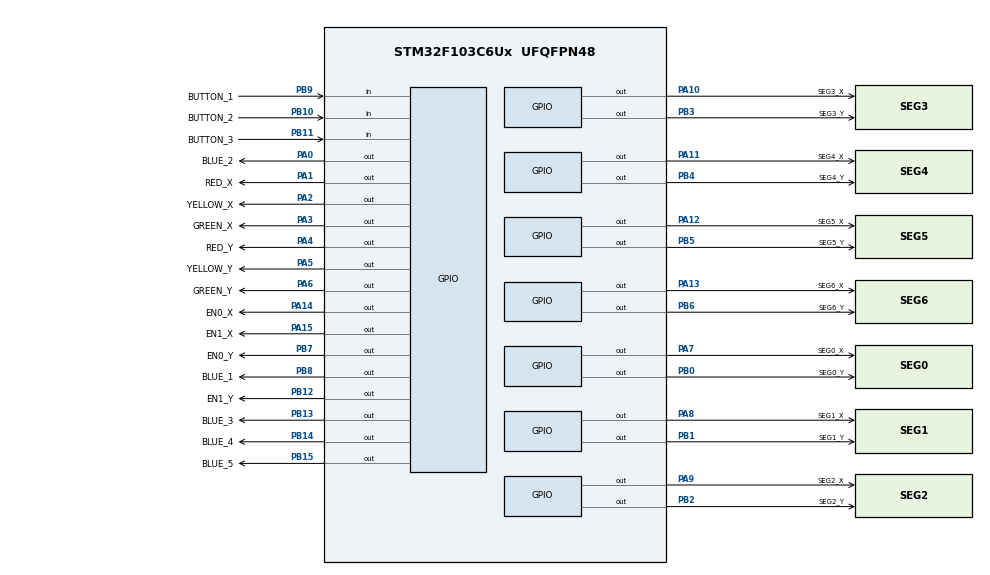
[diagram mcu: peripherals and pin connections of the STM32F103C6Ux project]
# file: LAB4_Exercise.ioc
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Mcu.Family=STM32F1
Mcu.Name=STM32F103C6Ux
Mcu.Package=UFQFPN48
NVIC.PriorityGroup=NVIC_PRIORITYGROUP_4
NVIC.TIM2_IRQn=true\:0\:0\:false\:false\:true\:true\:true
PA0-WKUP.GPIO_Label=BLUE_2
PA0-WKUP.Signal=GPIO_Output
PA1.GPIO_Label=RED_X
PA1.Signal=GPIO_Output
PA10.GPIO_Label=SEG3_X
PA10.Signal=GPIO_Output
PA11.GPIO_Label=SEG4_X
PA11.Signal=GPIO_Output
PA12.GPIO_Label=SEG5_X
PA12.Signal=GPIO_Output
PA13.GPIO_Label=SEG6_X
PA13.Signal=GPIO_Output
PA14.GPIO_Label=EN0_X
PA14.Signal=GPIO_Output
PA15.GPIO_Label=EN1_X
PA15.Signal=GPIO_Output
PA2.GPIO_Label=YELLOW_X
PA2.Signal=GPIO_Output
PA3.GPIO_Label=GREEN_X
PA3.Signal=GPIO_Output
PA4.GPIO_Label=RED_Y
PA4.Signal=GPIO_Output
PA5.GPIO_Label=YELLOW_Y
PA5.Signal=GPIO_Output
PA6.GPIO_Label=GREEN_Y
PA6.Signal=GPIO_Output
PA7.GPIO_Label=SEG0_X
PA7.Signal=GPIO_Output
PA8.GPIO_Label=SEG1_X
PA8.Signal=GPIO_Output
PA9.GPIO_Label=SEG2_X
PA9.Signal=GPIO_Output
PB0.GPIO_Label=SEG0_Y
PB0.Signal=GPIO_Output
PB1.GPIO_Label=SEG1_Y
PB1.Signal=GPIO_Output
PB10.GPIO_Label=BUTTON_2
PB10.GPIO_PuPd=GPIO_PULLUP
PB10.Signal=GPIO_Input
PB11.GPIO_Label=BUTTON_3
PB11.GPIO_PuPd=GPIO_PULLUP
PB11.Signal=GPIO_Input
PB12.GPIO_Label=EN1_Y
PB12.Signal=GPIO_Output
PB13.GPIO_Label=BLUE_3
PB13.Signal=GPIO_Output
PB14.GPIO_Label=BLUE_4
PB14.Signal=GPIO_Output
PB15.GPIO_Label=BLUE_5
PB15.Signal=GPIO_Output
PB2.GPIO_Label=SEG2_Y
PB2.Signal=GPIO_Output
PB3.GPIO_Label=SEG3_Y
PB3.Signal=GPIO_Output
PB4.GPIO_Label=SEG4_Y
PB4.Signal=GPIO_Output
PB5.GPIO_Label=SEG5_Y
PB5.Signal=GPIO_Output
PB6.GPIO_Label=SEG6_Y
PB6.Signal=GPIO_Output
PB7.GPIO_Label=EN0_Y
PB7.Signal=GPIO_Output
PB8.GPIO_Label=BLUE_1
PB8.Signal=GPIO_Output
PB9.GPIO_Label=BUTTON_1
PB9.GPIO_PuPd=GPIO_PULLUP
PB9.Signal=GPIO_Input
ProjectManager.HeapSize=0x200
ProjectManager.StackSize=0x400
ProjectManager.TargetToolchain=STM32CubeIDE
RCC.APB1Freq_Value=8000000
RCC.APB2Freq_Value=8000000
TIM2.Period=9
TIM2.Prescaler=7999
VP_SYS_VS_ND.Mode=No_Debug
VP_TIM2_VS_ClockSourceINT.Mode=Internal
board=custom

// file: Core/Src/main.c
/* USER CODE BEGIN Header */
/**
  ******************************************************************************
  * @file           : main.c
  * @brief          : Main program body
  ******************************************************************************
  * @attention
  *
  * <h2><center>&copy; Copyright (c) 2024 STMicroelectronics.
  * All rights reserved.</center></h2>
  *
  * This software component is licensed by ST under BSD 3-Clause license,
  * the "License"; You may not use this file except in compliance with the
  * License. You may obtain a copy of the License at:
  *                        opensource.org/licenses/BSD-3-Clause
  *
  ******************************************************************************
  */
/* USER CODE END Header */
#include "main.h"

/* USER CODE BEGIN Includes */
#include "scheduler.h"
#include "fsm.h"
#include "button.h"
#include "fsm_setting.h"
#include "display7SEG.h"
#include "global.h"
#include "tasks.h"
/* USER CODE END Includes */

TIM_HandleTypeDef htim2;

void SystemClock_Config(void);
static void MX_GPIO_Init(void);
static void MX_TIM2_Init(void);

int main(void)
{

  /* MCU Configuration--------------------------------------------------------*/

  /* Reset of all peripherals, Initializes the Flash interface and the Systick. */
  HAL_Init();

  /* Configure the system clock */
  SystemClock_Config();

  /* Initialize all configured peripherals */
  MX_GPIO_Init();
  MX_TIM2_Init();
  /* USER CODE BEGIN 2 */
  HAL_TIM_Base_Start_IT(&htim2);

  HAL_GPIO_WritePin(BLUE_1_GPIO_Port, BLUE_1_Pin, GPIO_PIN_SET);
  HAL_GPIO_WritePin(BLUE_2_GPIO_Port, BLUE_2_Pin, GPIO_PIN_SET);
  HAL_GPIO_WritePin(BLUE_3_GPIO_Port, BLUE_3_Pin, GPIO_PIN_SET);
  HAL_GPIO_WritePin(BLUE_4_GPIO_Port, BLUE_4_Pin, GPIO_PIN_SET);
  HAL_GPIO_WritePin(BLUE_5_GPIO_Port, BLUE_5_Pin, GPIO_PIN_SET);

  HAL_GPIO_WritePin(RED_X_GPIO_Port, RED_X_Pin, GPIO_PIN_SET);
  HAL_GPIO_WritePin(YELLOW_X_GPIO_Port, YELLOW_X_Pin, GPIO_PIN_SET);
  HAL_GPIO_WritePin(GREEN_X_GPIO_Port, GREEN_X_Pin, GPIO_PIN_SET);
  HAL_GPIO_WritePin(RED_Y_GPIO_Port, RED_Y_Pin, GPIO_PIN_SET);
  HAL_GPIO_WritePin(YELLOW_Y_GPIO_Port, YELLOW_Y_Pin, GPIO_PIN_SET);
  HAL_GPIO_WritePin(GREEN_Y_GPIO_Port, GREEN_Y_Pin, GPIO_PIN_SET);
  init7SEG();
  current_mode = 1;
  status = INIT;
  //One-shot tasks
  SCH_Add_Task(Task1, 50, 0);

  //Periodic tasks
  SCH_Add_Task(mode_1, 100, 1);
  SCH_Add_Task(mode_2, 100, 50);
  SCH_Add_Task(mode_3, 100, 50);
  SCH_Add_Task(mode_4, 100, 50);
  SCH_Add_Task(countdown, 100, 100);
  SCH_Add_Task(updateBufferOption, 100, 25);
  SCH_Add_Task(change_mode, 100, 10);
  SCH_Add_Task(change_clock_value, 100, 1);

  SCH_Add_Task(Task2, 50, 50);
  SCH_Add_Task(Task3, 100, 50);
  SCH_Add_Task(Task4, 50, 100);
  SCH_Add_Task(Task5, 100, 100);
//  SCH_Add_Task(check_save, 1000, 10);
  /* USER CODE END 2 */

  /* Infinite loop */
  /* USER CODE BEGIN WHILE */
  while (1)
  {
	  SCH_Dispatch_Tasks();
    /* USER CODE END WHILE */

  }
}

void SystemClock_Config(void)
{
  RCC_OscInitTypeDef RCC_OscInitStruct = {0};
  RCC_ClkInitTypeDef RCC_ClkInitStruct = {0};

  /** Initializes the RCC Oscillators according to the specified parameters
  * in the RCC_OscInitTypeDef structure.
  */
  RCC_OscInitStruct.OscillatorType = RCC_OSCILLATORTYPE_HSI;
  RCC_OscInitStruct.HSIState = RCC_HSI_ON;
  RCC_OscInitStruct.HSICalibrationValue = RCC_HSICALIBRATION_DEFAULT;
  RCC_OscInitStruct.PLL.PLLState = RCC_PLL_NONE;
  if (HAL_RCC_OscConfig(&RCC_OscInitStruct) != HAL_OK)
  {
    Error_Handler();
  }
  /** Initializes the CPU, AHB and APB buses clocks
  */
  RCC_ClkInitStruct.ClockType = RCC_CLOCKTYPE_HCLK|RCC_CLOCKTYPE_SYSCLK
                              |RCC_CLOCKTYPE_PCLK1|RCC_CLOCKTYPE_PCLK2;
  RCC_ClkInitStruct.SYSCLKSource = RCC_SYSCLKSOURCE_HSI;
  RCC_ClkInitStruct.AHBCLKDivider = RCC_SYSCLK_DIV1;
  RCC_ClkInitStruct.APB1CLKDivider = RCC_HCLK_DIV1;
  RCC_ClkInitStruct.APB2CLKDivider = RCC_HCLK_DIV1;

  if (HAL_RCC_ClockConfig(&RCC_ClkInitStruct, FLASH_LATENCY_0) != HAL_OK)
  {
    Error_Handler();
  }
}

static void MX_TIM2_Init(void)
{

  TIM_ClockConfigTypeDef sClockSourceConfig = {0};
  TIM_MasterConfigTypeDef sMasterConfig = {0};

  htim2.Instance = TIM2;
  htim2.Init.Prescaler = 7999;
  htim2.Init.CounterMode = TIM_COUNTERMODE_UP;
  htim2.Init.Period = 9;
  htim2.Init.ClockDivision = TIM_CLOCKDIVISION_DIV1;
  htim2.Init.AutoReloadPreload = TIM_AUTORELOAD_PRELOAD_DISABLE;
  if (HAL_TIM_Base_Init(&htim2) != HAL_OK)
  {
    Error_Handler();
  }
  sClockSourceConfig.ClockSource = TIM_CLOCKSOURCE_INTERNAL;
  if (HAL_TIM_ConfigClockSource(&htim2, &sClockSourceConfig) != HAL_OK)
  {
    Error_Handler();
  }
  sMasterConfig.MasterOutputTrigger = TIM_TRGO_RESET;
  sMasterConfig.MasterSlaveMode = TIM_MASTERSLAVEMODE_DISABLE;
  if (HAL_TIMEx_MasterConfigSynchronization(&htim2, &sMasterConfig) != HAL_OK)
  {
    Error_Handler();
  }

}

static void MX_GPIO_Init(void)
{
  GPIO_InitTypeDef GPIO_InitStruct = {0};

  /* GPIO Ports Clock Enable */
  __HAL_RCC_GPIOA_CLK_ENABLE();
  __HAL_RCC_GPIOB_CLK_ENABLE();

  /*Configure GPIO pin Output Level */
  HAL_GPIO_WritePin(GPIOA, BLUE_2_Pin|RED_X_Pin|YELLOW_X_Pin|GREEN_X_Pin
                          |RED_Y_Pin|YELLOW_Y_Pin|GREEN_Y_Pin|SEG0_X_Pin
                          |SEG1_X_Pin|SEG2_X_Pin|SEG3_X_Pin|SEG4_X_Pin
                          |SEG5_X_Pin|SEG6_X_Pin|EN0_X_Pin|EN1_X_Pin, GPIO_PIN_RESET);

  /*Configure GPIO pin Output Level */
  HAL_GPIO_WritePin(GPIOB, SEG0_Y_Pin|SEG1_Y_Pin|SEG2_Y_Pin|EN1_Y_Pin
                          |BLUE_3_Pin|BLUE_4_Pin|BLUE_5_Pin|SEG3_Y_Pin
                          |SEG4_Y_Pin|SEG5_Y_Pin|SEG6_Y_Pin|EN0_Y_Pin
                          |BLUE_1_Pin, GPIO_PIN_RESET);

  /*Configure GPIO pins : BLUE_2_Pin RED_X_Pin YELLOW_X_Pin GREEN_X_Pin
                           RED_Y_Pin YELLOW_Y_Pin GREEN_Y_Pin SEG0_X_Pin
                           SEG1_X_Pin SEG2_X_Pin SEG3_X_Pin SEG4_X_Pin
                           SEG5_X_Pin SEG6_X_Pin EN0_X_Pin EN1_X_Pin */
  GPIO_InitStruct.Pin = BLUE_2_Pin|RED_X_Pin|YELLOW_X_Pin|GREEN_X_Pin
                          |RED_Y_Pin|YELLOW_Y_Pin|GREEN_Y_Pin|SEG0_X_Pin
                          |SEG1_X_Pin|SEG2_X_Pin|SEG3_X_Pin|SEG4_X_Pin
                          |SEG5_X_Pin|SEG6_X_Pin|EN0_X_Pin|EN1_X_Pin;
  GPIO_InitStruct.Mode = GPIO_MODE_OUTPUT_PP;
  GPIO_InitStruct.Pull = GPIO_NOPULL;
  GPIO_InitStruct.Speed = GPIO_SPEED_FREQ_LOW;
  HAL_GPIO_Init(GPIOA, &GPIO_InitStruct);

  /*Configure GPIO pins : SEG0_Y_Pin SEG1_Y_Pin SEG2_Y_Pin EN1_Y_Pin
                           BLUE_3_Pin BLUE_4_Pin BLUE_5_Pin SEG3_Y_Pin
                           SEG4_Y_Pin SEG5_Y_Pin SEG6_Y_Pin EN0_Y_Pin
                           BLUE_1_Pin */
  GPIO_InitStruct.Pin = SEG0_Y_Pin|SEG1_Y_Pin|SEG2_Y_Pin|EN1_Y_Pin
                          |BLUE_3_Pin|BLUE_4_Pin|BLUE_5_Pin|SEG3_Y_Pin
                          |SEG4_Y_Pin|SEG5_Y_Pin|SEG6_Y_Pin|EN0_Y_Pin
                          |BLUE_1_Pin;
  GPIO_InitStruct.Mode = GPIO_MODE_OUTPUT_PP;
  GPIO_InitStruct.Pull = GPIO_NOPULL;
  GPIO_InitStruct.Speed = GPIO_SPEED_FREQ_LOW;
  HAL_GPIO_Init(GPIOB, &GPIO_InitStruct);

  /*Configure GPIO pins : BUTTON_2_Pin BUTTON_3_Pin BUTTON_1_Pin */
  GPIO_InitStruct.Pin = BUTTON_2_Pin|BUTTON_3_Pin|BUTTON_1_Pin;
  GPIO_InitStruct.Mode = GPIO_MODE_INPUT;
  GPIO_InitStruct.Pull = GPIO_PULLUP;
  HAL_GPIO_Init(GPIOB, &GPIO_InitStruct);

}

/* USER CODE BEGIN 4 */
void HAL_TIM_PeriodElapsedCallback(TIM_HandleTypeDef *htim){
	if(htim -> Instance == TIM2){
		getKeyInput_1();
		getKeyInput_2();
		getKeyInput_3();
		SCH_Update();
	}
}
/* USER CODE END 4 */

void Error_Handler(void)
{
  __disable_irq();
  while (1)
  {
  }
}

/************************ (C) COPYRIGHT STMicroelectronics *****END OF FILE****/
